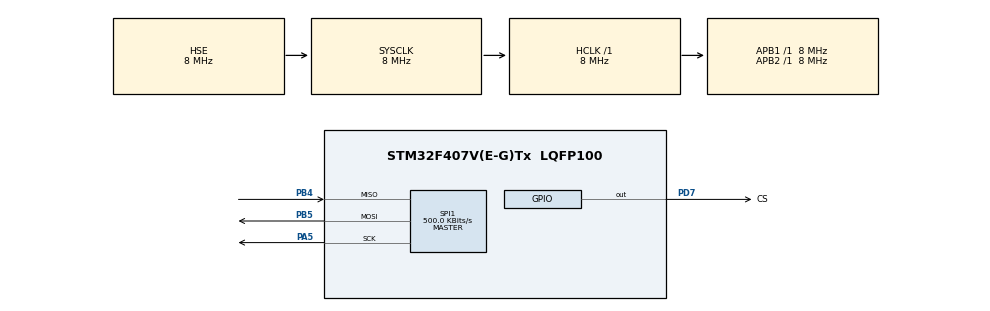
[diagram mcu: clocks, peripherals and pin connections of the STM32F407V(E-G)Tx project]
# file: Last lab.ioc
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Mcu.Family=STM32F4
Mcu.Name=STM32F407V(E-G)Tx
Mcu.Package=LQFP100
NVIC.PriorityGroup=NVIC_PRIORITYGROUP_4
PA13.Mode=Serial_Wire
PA13.Signal=SYS_JTMS-SWDIO
PA14.Mode=Serial_Wire
PA14.Signal=SYS_JTCK-SWCLK
PA5.Mode=Full_Duplex_Master
PA5.Signal=SPI1_SCK
PB4.Mode=Full_Duplex_Master
PB4.Signal=SPI1_MISO
PB5.Mode=Full_Duplex_Master
PB5.Signal=SPI1_MOSI
PD7.GPIO_Label=CS
PD7.Signal=GPIO_Output
PH0-OSC_IN.Mode=HSE-External-Oscillator
PH0-OSC_IN.Signal=RCC_OSC_IN
PH1-OSC_OUT.Mode=HSE-External-Oscillator
PH1-OSC_OUT.Signal=RCC_OSC_OUT
ProjectManager.HeapSize=0x200
ProjectManager.StackSize=0x400
ProjectManager.TargetToolchain=STM32CubeIDE
RCC.48MHZClocksFreq_Value=24000000
RCC.AHBFreq_Value=8000000
RCC.APB1Freq_Value=8000000
RCC.APB1TimFreq_Value=8000000
RCC.APB2Freq_Value=8000000
RCC.APB2TimFreq_Value=8000000
RCC.CortexFreq_Value=8000000
RCC.HCLKFreq_Value=8000000
RCC.HSE_VALUE=8000000
RCC.HSI_VALUE=16000000
RCC.LSE_VALUE=32768
RCC.PLLSourceVirtual=RCC_PLLSOURCE_HSE
RCC.SYSCLKFreq_VALUE=8000000
RCC.SYSCLKSource=RCC_SYSCLKSOURCE_HSE
RCC.VCOOutputFreq_Value=96000000
SPI1.BaudRatePrescaler=SPI_BAUDRATEPRESCALER_16
SPI1.CalculateBaudRate=500.0 KBits/s
SPI1.Direction=SPI_DIRECTION_2LINES
SPI1.Mode=SPI_MODE_MASTER
SPI1.VirtualType=VM_MASTER
board=custom

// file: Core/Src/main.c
/* USER CODE BEGIN Header */
/**
  ******************************************************************************
  * @file           : main.c
  * @brief          : Main program body
  ******************************************************************************
  * @attention
  *
  * <h2><center>&copy; Copyright (c) 2021 STMicroelectronics.
  * All rights reserved.</center></h2>
  *
  * This software component is licensed by ST under BSD 3-Clause license,
  * the "License"; You may not use this file except in compliance with the
  * License. You may obtain a copy of the License at:
  *                        opensource.org/licenses/BSD-3-Clause
  *
  ******************************************************************************
  */
/* USER CODE END Header */
#include "main.h"
#include <string.h>
#include "SST25VF016B.h"

/* USER CODE BEGIN PD */
#define FOUR_KILO_BYTES 0x1000
#define COUNT_LINES 13
#define MAX_SIZE_MESSAGE 130
/* USER CODE END PD */

SPI_HandleTypeDef hspi1;

/* USER CODE BEGIN PV */

uint8_t* message[COUNT_LINES] = {"From: Remez Michael, mad03day@gmail.com\n",
								"Mentor: Anna Bezverkhnia, anna.bezverkhnia@globallogic.com\n",
								"Date: 1.12.2021\n",
								"TIME CAPSULE\n",
								"Today I finished writing this program while listening Lo-Fi\n",
								"So I have little time for the next assignment, and I hope to have time to complete it\n",
								"If you see this message, you can read this flash memory\n",
								"Measuring a programmer's productivity by counting lines of code is like measuring the construction of an airplane by its weight.\n",
								"Bill Gates.\n",
								"Debugging code is like hunting. Bug hunting\n",
								"Amit Kalantri\n",
								"Works? Do not touch\n",
								"folk wisdom\n"};

/* USER CODE END PV */

void SystemClock_Config(void);
static void MX_GPIO_Init(void);
static void MX_SPI1_Init(void);

/* USER CODE BEGIN 0 */
void Write_SPI(void)
{
	for (uint8_t j = 0; j < COUNT_LINES; j++)
	{
		uint32_t start_adr = j * FOUR_KILO_BYTES;
		for(uint16_t i = 0; message[j][i] != '\0'; i++)
		{
			sst25vf016b_write(&hspi1, start_adr + i, message[j][i]);
		}
	}
}
/* USER CODE END 0 */

int main(void)
{

  /* MCU Configuration--------------------------------------------------------*/

  /* Reset of all peripherals, Initializes the Flash interface and the Systick. */
  HAL_Init();

  /* Configure the system clock */
  SystemClock_Config();

  /* Initialize all configured peripherals */
  MX_GPIO_Init();
  MX_SPI1_Init();
  /* USER CODE BEGIN 2 */
  sst25vf016b_erase(&hspi1);

  /* USER CODE END 2 */

  /* Infinite loop */
  /* USER CODE BEGIN WHILE */

  while (1)
  {
	  Write_SPI();
	  HAL_Delay(10);
	  uint8_t first_symbol = sst25vf016b_read(&hspi1, 0);	//Test
	  HAL_Delay(100);
    /* USER CODE END WHILE */

  }
}

void SystemClock_Config(void)
{
  RCC_OscInitTypeDef RCC_OscInitStruct = {0};
  RCC_ClkInitTypeDef RCC_ClkInitStruct = {0};

  /** Configure the main internal regulator output voltage
  */
  __HAL_RCC_PWR_CLK_ENABLE();
  __HAL_PWR_VOLTAGESCALING_CONFIG(PWR_REGULATOR_VOLTAGE_SCALE1);
  /** Initializes the RCC Oscillators according to the specified parameters
  * in the RCC_OscInitTypeDef structure.
  */
  RCC_OscInitStruct.OscillatorType = RCC_OSCILLATORTYPE_HSE;
  RCC_OscInitStruct.HSEState = RCC_HSE_ON;
  RCC_OscInitStruct.PLL.PLLState = RCC_PLL_NONE;
  if (HAL_RCC_OscConfig(&RCC_OscInitStruct) != HAL_OK)
  {
    Error_Handler();
  }
  /** Initializes the CPU, AHB and APB buses clocks
  */
  RCC_ClkInitStruct.ClockType = RCC_CLOCKTYPE_HCLK|RCC_CLOCKTYPE_SYSCLK
                              |RCC_CLOCKTYPE_PCLK1|RCC_CLOCKTYPE_PCLK2;
  RCC_ClkInitStruct.SYSCLKSource = RCC_SYSCLKSOURCE_HSE;
  RCC_ClkInitStruct.AHBCLKDivider = RCC_SYSCLK_DIV1;
  RCC_ClkInitStruct.APB1CLKDivider = RCC_HCLK_DIV1;
  RCC_ClkInitStruct.APB2CLKDivider = RCC_HCLK_DIV1;

  if (HAL_RCC_ClockConfig(&RCC_ClkInitStruct, FLASH_LATENCY_0) != HAL_OK)
  {
    Error_Handler();
  }
}

static void MX_SPI1_Init(void)
{

  /* SPI1 parameter configuration*/
  hspi1.Instance = SPI1;
  hspi1.Init.Mode = SPI_MODE_MASTER;
  hspi1.Init.Direction = SPI_DIRECTION_2LINES;
  hspi1.Init.DataSize = SPI_DATASIZE_8BIT;
  hspi1.Init.CLKPolarity = SPI_POLARITY_LOW;
  hspi1.Init.CLKPhase = SPI_PHASE_1EDGE;
  hspi1.Init.NSS = SPI_NSS_SOFT;
  hspi1.Init.BaudRatePrescaler = SPI_BAUDRATEPRESCALER_16;
  hspi1.Init.FirstBit = SPI_FIRSTBIT_MSB;
  hspi1.Init.TIMode = SPI_TIMODE_DISABLE;
  hspi1.Init.CRCCalculation = SPI_CRCCALCULATION_DISABLE;
  hspi1.Init.CRCPolynomial = 10;
  if (HAL_SPI_Init(&hspi1) != HAL_OK)
  {
    Error_Handler();
  }

}

static void MX_GPIO_Init(void)
{
  GPIO_InitTypeDef GPIO_InitStruct = {0};

  /* GPIO Ports Clock Enable */
  __HAL_RCC_GPIOH_CLK_ENABLE();
  __HAL_RCC_GPIOA_CLK_ENABLE();
  __HAL_RCC_GPIOD_CLK_ENABLE();
  __HAL_RCC_GPIOB_CLK_ENABLE();

  /*Configure GPIO pin Output Level */
  HAL_GPIO_WritePin(CS_GPIO_Port, CS_Pin, GPIO_PIN_RESET);

  /*Configure GPIO pin : CS_Pin */
  GPIO_InitStruct.Pin = CS_Pin;
  GPIO_InitStruct.Mode = GPIO_MODE_OUTPUT_PP;
  GPIO_InitStruct.Pull = GPIO_NOPULL;
  GPIO_InitStruct.Speed = GPIO_SPEED_FREQ_LOW;
  HAL_GPIO_Init(CS_GPIO_Port, &GPIO_InitStruct);

}

void Error_Handler(void)
{
  __disable_irq();
  while (1)
  {
  }
}

/************************ (C) COPYRIGHT STMicroelectronics *****END OF FILE****/
